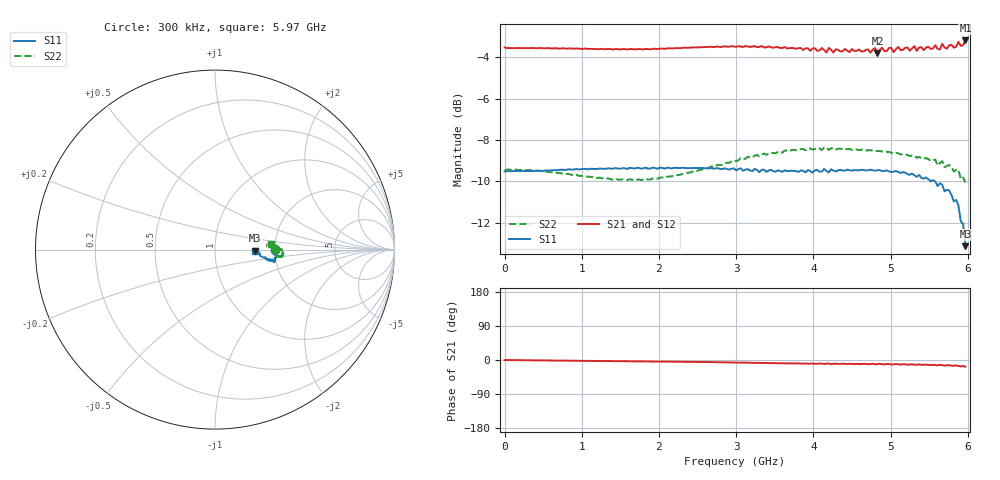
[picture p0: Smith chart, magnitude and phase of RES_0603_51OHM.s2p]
# Hz S RI R 50
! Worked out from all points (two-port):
!   200 points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, 300 kHz to 5.97 GHz, reference 50 ohm
!   highest |S21| = -3.19 dB at 5.97 GHz (marker M1); lowest = -3.8 dB at 4.83 GHz (marker M2)
!   |S21| within 3 dB of the highest: start of sweep to end of sweep
!   lowest |S11| = -13.1 dB at 5.97 GHz (marker M3), VSWR 1.57, Z = 78.3 - j0.958 ohm
!   |S11| at or under -10 dB: 5.579 GHz to end of sweep
!   |S22| runs from -10.1 to -8.4 dB; largest |S21 - S12| = 0.019
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300000  0.3341 -0.00033  0.6664 -0.00395  0.6632 0.000131  0.3359 0.00201
1.020249e9  0.3386 -0.0154  0.661 -0.0259  0.6614 -0.0265  0.3263 0.000102
2.0102e9  0.3401 -0.0282  0.6603 -0.0445  0.6585 -0.0457  0.3224 -0.0172
3.00015e9  0.3322 -0.0519  0.6641 -0.0765  0.6595 -0.0731  0.3516 -0.0391
3.9901e9  0.326 -0.0636  0.6539 -0.1053  0.6519 -0.1027  0.376 -0.0319
4.140093e9  0.3324 -0.0653  0.6455 -0.1204  0.6517 -0.122  0.3806 -0.0248
4.20009e9  0.3262 -0.0628  0.6553 -0.1091  0.654 -0.1068  0.3756 -0.0258
4.260087e9  0.3291 -0.0667  0.6378 -0.1116  0.6416 -0.1152  0.3802 -0.0239
4.770062e9  0.3302 -0.0644  0.6483 -0.1123  0.6437 -0.1226  0.3751 -0.00829
4.80006e9  0.3296 -0.0629  0.651 -0.1305  0.648 -0.1333  0.3739 -0.00699
4.830058e9  0.3308 -0.0617  0.634 -0.1249  0.6368 -0.1331  0.3743 -0.0043
4.980051e9  0.328 -0.0639  0.6529 -0.1217  0.6432 -0.1302  0.3723 -0.00243
5.040048e9  0.3282 -0.0608  0.636 -0.1305  0.6354 -0.1376  0.3692 0.000164
5.100045e9  0.327 -0.0639  0.654 -0.1354  0.6442 -0.1412  0.3697 -0.00151
5.310034e9  0.3202 -0.0648  0.6547 -0.1472  0.6403 -0.1483  0.365 0.00124
5.340033e9  0.319 -0.0584  0.638 -0.1422  0.6336 -0.1455  0.3605 0.00494
5.760012e9  0.2958 -0.0541  0.6546 -0.1616  0.6413 -0.1649  0.3462 0.0098
5.820009e9  0.2789 -0.0469  0.642 -0.1756  0.6317 -0.1739  0.3338 0.0107
5.880006e9  0.2729 -0.0451  0.6623 -0.1838  0.6441 -0.1867  0.3374 0.0137
5.910004e9  0.2507 -0.0344  0.6428 -0.1955  0.6296 -0.1905  0.3202 0.0139
5.940003e9  0.2491 -0.0171  0.6489 -0.1852  0.6413 -0.1874  0.322 0.0266
5.970002e9  0.2204 -0.00582  0.6601 -0.2097  0.6422 -0.2137  0.3129 0.0287
